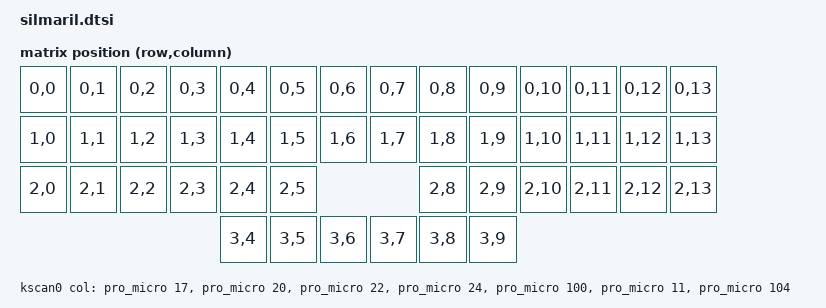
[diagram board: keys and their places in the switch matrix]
#include <dt-bindings/zmk/matrix_transform.h>

/ {
    chosen {
        zmk,kscan = &kscan0;
        zmk,matrix_transform = &default_transform;
    };

    default_transform: keymap_transform_0 {
        compatible = "zmk,matrix-transform";
        columns = <14>;  
        rows = <4>;    

        
        map = < 
            RC(0,0) RC(0,1) RC(0,2) RC(0,3) RC(0,4) RC(0,5) RC(0,6)     RC(0,7) RC(0,8) RC(0,9) RC(0,10) RC(0,11) RC(0,12)  RC(0,13)
            RC(1,0) RC(1,1) RC(1,2) RC(1,3) RC(1,4) RC(1,5) RC(1,6)     RC(1,7) RC(1,8) RC(1,9) RC(1,10) RC(1,11) RC(1,12)  RC(1,13)
            RC(2,0) RC(2,1) RC(2,2) RC(2,3) RC(2,4) RC(2,5)                     RC(2,8) RC(2,9) RC(2,10) RC(2,11) RC(2,12)  RC(2,13)
                                            RC(3,4) RC(3,5) RC(3,6)     RC(3,7) RC(3,8) RC(3,9)
        >;
    };

    kscan0: kscan {
        compatible = "zmk,kscan-gpio-matrix";
        wakeup-source;
        diode-direction = "col2row";
        
        col-gpios = <&pro_micro 17 GPIO_ACTIVE_HIGH>,  // D2 / P0.17 - col1
                    <&pro_micro 20 GPIO_ACTIVE_HIGH>,  // D3 / P0.20 - col2
                    <&pro_micro 22 GPIO_ACTIVE_HIGH>,  // D4 / P0.22 - col3
                    <&pro_micro 24 GPIO_ACTIVE_HIGH>,  // D5 / P0.24 - col4
                    <&pro_micro 100 GPIO_ACTIVE_HIGH>, // D6 / P1.00 - col5
                    <&pro_micro 11 GPIO_ACTIVE_HIGH>,  // D7 / P0.11 - col6
                    <&pro_micro 104 GPIO_ACTIVE_HIGH>; // D8 / P1.04 - col7


    };
};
